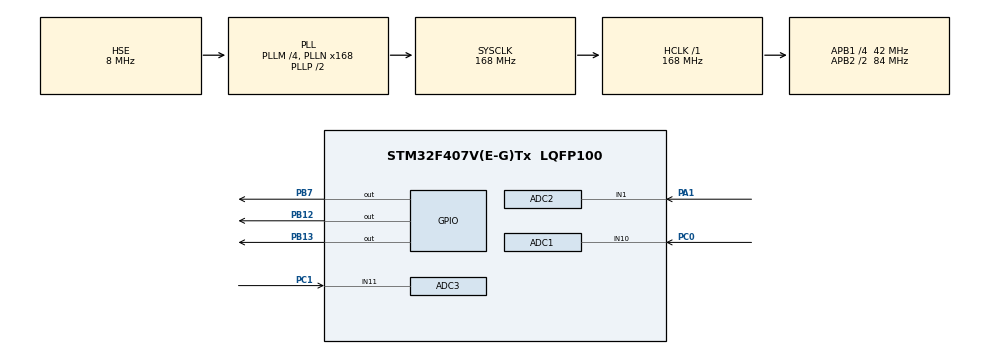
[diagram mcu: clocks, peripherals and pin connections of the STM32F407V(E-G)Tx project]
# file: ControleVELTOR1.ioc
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ADC1.Channel-3\#ChannelRegularConversion=ADC_CHANNEL_10
ADC1.ClockPrescaler=ADC_CLOCK_SYNC_PCLK_DIV8
ADC1.NbrOfConversionFlag=1
ADC1.Rank-3\#ChannelRegularConversion=1
ADC1.SamplingTime-3\#ChannelRegularConversion=ADC_SAMPLETIME_3CYCLES
ADC1.master=1
ADC2.Channel-1\#ChannelRegularConversion=ADC_CHANNEL_1
ADC2.ClockPrescaler=ADC_CLOCK_SYNC_PCLK_DIV8
ADC2.NbrOfConversionFlag=1
ADC2.Rank-1\#ChannelRegularConversion=1
ADC2.SamplingTime-1\#ChannelRegularConversion=ADC_SAMPLETIME_3CYCLES
ADC3.Channel-1\#ChannelRegularConversion=ADC_CHANNEL_11
ADC3.ClockPrescaler=ADC_CLOCK_SYNC_PCLK_DIV8
ADC3.NbrOfConversionFlag=1
ADC3.Rank-1\#ChannelRegularConversion=1
ADC3.SamplingTime-1\#ChannelRegularConversion=ADC_SAMPLETIME_3CYCLES
FREERTOS.Tasks01=defaultTask,24,128,StartDefaultTask,Default,NULL,Dynamic,NULL,NULL
FREERTOS.configUSE_NEWLIB_REENTRANT=1
Mcu.Family=STM32F4
Mcu.Name=STM32F407V(E-G)Tx
Mcu.Package=LQFP100
NVIC.ADC_IRQn=true\:5\:0\:false\:false\:true\:true\:true\:true
NVIC.PriorityGroup=NVIC_PRIORITYGROUP_4
NVIC.TIM6_DAC_IRQn=true\:15\:0\:false\:false\:true\:false\:false\:true
NVIC.TimeBase=TIM6_DAC_IRQn
NVIC.TimeBaseIP=TIM6
PA1.Signal=ADCx_IN1
PB12.Signal=GPIO_Output
PB13.Signal=GPIO_Output
PB7.Signal=GPIO_Output
PC0.Signal=ADCx_IN10
PC1.Signal=ADCx_IN11
PH0-OSC_IN.Mode=HSE-External-Oscillator
PH0-OSC_IN.Signal=RCC_OSC_IN
PH1-OSC_OUT.Mode=HSE-External-Oscillator
PH1-OSC_OUT.Signal=RCC_OSC_OUT
ProjectManager.HeapSize=0x200
ProjectManager.StackSize=0x400
ProjectManager.TargetToolchain=STM32CubeIDE
RCC.48MHZClocksFreq_Value=84000000
RCC.AHBFreq_Value=168000000
RCC.APB1CLKDivider=RCC_HCLK_DIV4
RCC.APB1Freq_Value=42000000
RCC.APB1TimFreq_Value=84000000
RCC.APB2CLKDivider=RCC_HCLK_DIV2
RCC.APB2Freq_Value=84000000
RCC.APB2TimFreq_Value=168000000
RCC.CortexFreq_Value=168000000
RCC.HCLKFreq_Value=168000000
RCC.HSE_VALUE=8000000
RCC.HSI_VALUE=16000000
RCC.LSE_VALUE=32768
RCC.PLLM=4
RCC.PLLN=168
RCC.PLLSourceVirtual=RCC_PLLSOURCE_HSE
RCC.SYSCLKFreq_VALUE=168000000
RCC.SYSCLKSource=RCC_SYSCLKSOURCE_PLLCLK
RCC.VCOOutputFreq_Value=336000000
SH.ADCx_IN1.0=ADC2_IN1,IN1
SH.ADCx_IN10.0=ADC1_IN10,IN10
SH.ADCx_IN11.0=ADC3_IN11,IN11
VP_FREERTOS_VS_CMSIS_V2.Mode=CMSIS_V2
VP_SYS_VS_tim6.Mode=TIM6
board=custom

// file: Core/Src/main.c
/* USER CODE BEGIN Header */
/**
  ******************************************************************************
  * @file           : main.c
  * @brief          : Main program body
  ******************************************************************************
  * @attention
  *
  * <h2><center>&copy; Copyright (c) 2021 STMicroelectronics.
  * All rights reserved.</center></h2>
  *
  * This software component is licensed by ST under BSD 3-Clause license,
  * the "License"; You may not use this file except in compliance with the
  * License. You may obtain a copy of the License at:
  *                        opensource.org/licenses/BSD-3-Clause
  *
  ******************************************************************************
  */
/* USER CODE END Header */
#include "main.h"
#include "cmsis_os.h"

/* USER CODE BEGIN Includes */
#include <stdint.h>
#include "pwm.h"
#include "qdc.h"
#include "task.h"
#include "queue.h"
#include "setup.h"
/* USER CODE END Includes */

/* USER CODE BEGIN PM */
//motor 1
#define Kp_w1 1
#define Ki_w1 1
#define Kd_w1 1
#define Kp_i1 1
#define Ki_i1 1
#define Kd_i1 1
//motor 2
#define Kp_w2 1
#define Ki_w2 1
#define Kd_w2 1
#define Kp_i2 1
#define Ki_i2 1
#define Kd_i2 1
//motor 3
#define Kp_w3 1
#define Ki_w3 1
#define Kd_w3 1
#define Kp_i3 1
#define Ki_i3 1
#define Kd_i3 1
//outros
#define pi 3.14159
#define kt 18.803
#define PPR 1440
#define dt 0.01
#define dt2 0.0005
/* USER CODE END PM */

ADC_HandleTypeDef hadc1;
ADC_HandleTypeDef hadc2;
ADC_HandleTypeDef hadc3;

/* Definitions for defaultTask */
osThreadId_t defaultTaskHandle;
const osThreadAttr_t defaultTask_attributes = {
  .name = "defaultTask",
  .stack_size = 128 * 4,
  .priority = (osPriority_t) osPriorityNormal,
};

void SystemClock_Config(void);
static void MX_GPIO_Init(void);
static void MX_ADC2_Init(void);
static void MX_ADC3_Init(void);
static void MX_ADC1_Init(void);
void StartDefaultTask(void *argument);

/* USER CODE BEGIN PFP */
void task_EncoderCrtlSpeed( void *pvParameters );
void task_ADCdataIn( void *pvParameters );
float *ctrl_PID (float kp, float ki, float kd, float T, float input, float setpoint, float *data);
QueueHandle_t xQueue_tqSpeed1;
QueueHandle_t xQueue_tqSpeed2;
QueueHandle_t xQueue_tqSpeed3;
QueueHandle_t xQueue_ADC1;
QueueHandle_t xQueue_ADC2;
QueueHandle_t xQueue_ADC3;
QueueHandle_t xQueue_setpointVel1; // filas para receber as velocidades definidas pelo usuário
QueueHandle_t xQueue_setpointVel2;
QueueHandle_t xQueue_setpointVel3;
static float dataInput_w1[3], dataInput_w2[3], dataInput_w3[3];
static float dataInput_i1[3], dataInput_i2[3], dataInput_i3[3];
static float *aux;
/* USER CODE END PFP */

int main(void)
{
  /* USER CODE BEGIN 1 */
  HAL_StatusTypeDef ADC_status1, ADC_status2, ADC_status3;
  PWM_Parameters_t Parameters1, Parameters2, Parameters3;
  QDC_Parameters_t QDC_Parameters1, QDC_Parameters2, QDC_Parameters3;
  /* USER CODE END 1 */

  /* MCU Configuration--------------------------------------------------------*/

  /* Reset of all peripherals, Initializes the Flash interface and the Systick. */
  HAL_Init();

  /* Configure the system clock */
  SystemClock_Config();

  /* Initialize all configured peripherals */
  MX_GPIO_Init();
  MX_ADC2_Init();
  MX_ADC3_Init();
  MX_ADC1_Init();
  /* USER CODE BEGIN 2 */
  //start_rtos();

  xQueue_tqSpeed1 = xQueueCreate( 1, sizeof( float ) );
  xQueue_tqSpeed2 = xQueueCreate( 1, sizeof( float ) );
  xQueue_tqSpeed3 = xQueueCreate( 1, sizeof( float ) );
  xQueue_ADC1 = xQueueCreate( 1, sizeof( uint32_t ) );
  xQueue_ADC2 = xQueueCreate( 1, sizeof( uint32_t ) );
  xQueue_ADC3 = xQueueCreate( 1, sizeof( uint32_t ) );
  xQueue_setpointVel1 = xQueueCreate( 1, sizeof( float ) );
  xQueue_setpointVel2 = xQueueCreate( 1, sizeof( float ) );
  xQueue_setpointVel3 = xQueueCreate( 1, sizeof( float ) );

  xTaskCreate(
         task_EncoderCrtlSpeed                     /* Funcao a qual esta implementado o que a tarefa deve fazer */
       , "EncoderCrtlSpeed"   /* Nome (para fins de debug, se necessário) */
       , 256                          /* Tamanho da stack (em words) reservada para essa tarefa */
       , NULL                         /* Parametros passados (nesse caso, não há) */
       , 1                            /* Prioridade */
       , NULL);                      /* Handle da tarefa, opcional (nesse caso, não há) */

  xTaskCreate(task_ADCdataIn, "LeituraADC", 256, NULL, 1, NULL);

  ADC_status1 = HAL_ADC_Start_IT(&hadc1); //Inicia o ADC1 com interrupção
  if (ADC_status1 != HAL_OK) //Verifica se ta tudo bem
  {
	  Error_Handler();
  }

  ADC_status2 = HAL_ADC_Start_IT(&hadc2); //Inicia o ADC2 com interrupção
  if (ADC_status2 != HAL_OK) //Verifica se ta tudo bem
  {
  	  Error_Handler();
  }

  ADC_status3 = HAL_ADC_Start_IT(&hadc3); //Inicia o ADC3 com interrupção
  if (ADC_status3 != HAL_OK) //Verifica se ta tudo bem
  {
      Error_Handler();
  }

  // motor 1
  Parameters1.Channel = PWM12_CH1_PB14;
  Parameters1.Duty = 50;
  Parameters1.Frequency = 15000.0;
  Parameters1.Mode = PWM_EDGE_ALIGNED;
  Parameters1.Preference = PWM_RESOLUTION;
  Parameters1.Reslution = PWM_8BITS;
  PWM_Init(0, Parameters1); //passa a estrutura com as configurações

  QDC_Parameters1.Port = QDC4_CH1_PD12_CH2_PD13;
  QDC_Parameters1.PullConfig = QDC_PULL_UP;
  QDC_Parameters1.Resolution = QDC_X1;
  QDC_Init(0, QDC_Parameters1); //Inicia Encoder

  //motor 2
  Parameters2.Channel = PWM12_CH2_PB15;
  Parameters2.Duty = 50;
  Parameters2.Frequency = 15000.0;
  Parameters2.Mode = PWM_EDGE_ALIGNED;
  Parameters2.Preference = PWM_RESOLUTION;
  Parameters2.Reslution = PWM_8BITS;
  PWM_Init(1, Parameters2); //passa a estrutura com as configurações

  QDC_Parameters2.Port = QDC3_CH1_PB4_CH2_PB5;
  QDC_Parameters2.PullConfig = QDC_PULL_UP;
  QDC_Parameters2.Resolution = QDC_X1;
  QDC_Init(1, QDC_Parameters2); //Inicia Encoder

  //motor 3
  Parameters3.Channel = PWM10_CH1_PB8;
  Parameters3.Duty = 50; // 50% pra iniciar
  Parameters3.Frequency = 15000.0;
  Parameters3.Mode = PWM_EDGE_ALIGNED;
  Parameters3.Preference = PWM_RESOLUTION;
  Parameters3.Reslution = PWM_8BITS;
  PWM_Init(2, Parameters3); //passa a estrutura com as configurações

  QDC_Parameters3.Port = QDC8_CH1_PC6_CH2_PC7;
  QDC_Parameters3.PullConfig = QDC_PULL_UP;
  QDC_Parameters3.Resolution = QDC_X1;
  QDC_Init(2, QDC_Parameters3); //Inicia Encoder

  for (int i = 0; i<=3; i++){
	  dataInput_w1[i] = 0;
	  dataInput_w2[i] = 0;
	  dataInput_w3[i] = 0;
	  dataInput_i1[i] = 0;
	  dataInput_i2[i] = 0;
	  dataInput_i3[i] = 0;
  }

  vTaskStartScheduler();
  /* USER CODE END 2 */

  /* Init scheduler */
  osKernelInitialize();

  /* Create the thread(s) */
  /* creation of defaultTask */
  defaultTaskHandle = osThreadNew(StartDefaultTask, NULL, &defaultTask_attributes);

  /* Start scheduler */
  osKernelStart();

  /* We should never get here as control is now taken by the scheduler */
  /* Infinite loop */
  while (1)
  {

  }
}

void SystemClock_Config(void)
{
  RCC_OscInitTypeDef RCC_OscInitStruct = {0};
  RCC_ClkInitTypeDef RCC_ClkInitStruct = {0};

  /** Configure the main internal regulator output voltage
  */
  __HAL_RCC_PWR_CLK_ENABLE();
  __HAL_PWR_VOLTAGESCALING_CONFIG(PWR_REGULATOR_VOLTAGE_SCALE1);
  /** Initializes the RCC Oscillators according to the specified parameters
  * in the RCC_OscInitTypeDef structure.
  */
  RCC_OscInitStruct.OscillatorType = RCC_OSCILLATORTYPE_HSE;
  RCC_OscInitStruct.HSEState = RCC_HSE_ON;
  RCC_OscInitStruct.PLL.PLLState = RCC_PLL_ON;
  RCC_OscInitStruct.PLL.PLLSource = RCC_PLLSOURCE_HSE;
  RCC_OscInitStruct.PLL.PLLM = 4;
  RCC_OscInitStruct.PLL.PLLN = 168;
  RCC_OscInitStruct.PLL.PLLP = RCC_PLLP_DIV2;
  RCC_OscInitStruct.PLL.PLLQ = 4;
  if (HAL_RCC_OscConfig(&RCC_OscInitStruct) != HAL_OK)
  {
    Error_Handler();
  }
  /** Initializes the CPU, AHB and APB buses clocks
  */
  RCC_ClkInitStruct.ClockType = RCC_CLOCKTYPE_HCLK|RCC_CLOCKTYPE_SYSCLK
                              |RCC_CLOCKTYPE_PCLK1|RCC_CLOCKTYPE_PCLK2;
  RCC_ClkInitStruct.SYSCLKSource = RCC_SYSCLKSOURCE_PLLCLK;
  RCC_ClkInitStruct.AHBCLKDivider = RCC_SYSCLK_DIV1;
  RCC_ClkInitStruct.APB1CLKDivider = RCC_HCLK_DIV4;
  RCC_ClkInitStruct.APB2CLKDivider = RCC_HCLK_DIV2;

  if (HAL_RCC_ClockConfig(&RCC_ClkInitStruct, FLASH_LATENCY_5) != HAL_OK)
  {
    Error_Handler();
  }
}

static void MX_ADC1_Init(void)
{

  ADC_ChannelConfTypeDef sConfig = {0};

  /** Configure the global features of the ADC (Clock, Resolution, Data Alignment and number of conversion)
  */
  hadc1.Instance = ADC1;
  hadc1.Init.ClockPrescaler = ADC_CLOCK_SYNC_PCLK_DIV8;
  hadc1.Init.Resolution = ADC_RESOLUTION_12B;
  hadc1.Init.ScanConvMode = DISABLE;
  hadc1.Init.ContinuousConvMode = DISABLE;
  hadc1.Init.DiscontinuousConvMode = DISABLE;
  hadc1.Init.ExternalTrigConvEdge = ADC_EXTERNALTRIGCONVEDGE_NONE;
  hadc1.Init.ExternalTrigConv = ADC_SOFTWARE_START;
  hadc1.Init.DataAlign = ADC_DATAALIGN_RIGHT;
  hadc1.Init.NbrOfConversion = 1;
  hadc1.Init.DMAContinuousRequests = DISABLE;
  hadc1.Init.EOCSelection = ADC_EOC_SINGLE_CONV;
  if (HAL_ADC_Init(&hadc1) != HAL_OK)
  {
    Error_Handler();
  }
  /** Configure for the selected ADC regular channel its corresponding rank in the sequencer and its sample time.
  */
  sConfig.Channel = ADC_CHANNEL_10;
  sConfig.Rank = 1;
  sConfig.SamplingTime = ADC_SAMPLETIME_3CYCLES;
  if (HAL_ADC_ConfigChannel(&hadc1, &sConfig) != HAL_OK)
  {
    Error_Handler();
  }
  /* USER CODE BEGIN ADC1_Init 2 */
  NVIC_SetPriority(ADC_IRQn,
      		  NVIC_EncodePriority(NVIC_GetPriorityGrouping(), 0, 0));
  NVIC_EnableIRQ(ADC_IRQn);
  /* USER CODE END ADC1_Init 2 */

}

static void MX_ADC2_Init(void)
{

  ADC_ChannelConfTypeDef sConfig = {0};

  /** Configure the global features of the ADC (Clock, Resolution, Data Alignment and number of conversion)
  */
  hadc2.Instance = ADC2;
  hadc2.Init.ClockPrescaler = ADC_CLOCK_SYNC_PCLK_DIV8;
  hadc2.Init.Resolution = ADC_RESOLUTION_12B;
  hadc2.Init.ScanConvMode = DISABLE;
  hadc2.Init.ContinuousConvMode = DISABLE;
  hadc2.Init.DiscontinuousConvMode = DISABLE;
  hadc2.Init.ExternalTrigConvEdge = ADC_EXTERNALTRIGCONVEDGE_NONE;
  hadc2.Init.ExternalTrigConv = ADC_SOFTWARE_START;
  hadc2.Init.DataAlign = ADC_DATAALIGN_RIGHT;
  hadc2.Init.NbrOfConversion = 1;
  hadc2.Init.DMAContinuousRequests = DISABLE;
  hadc2.Init.EOCSelection = ADC_EOC_SINGLE_CONV;
  if (HAL_ADC_Init(&hadc2) != HAL_OK)
  {
    Error_Handler();
  }
  /** Configure for the selected ADC regular channel its corresponding rank in the sequencer and its sample time.
  */
  sConfig.Channel = ADC_CHANNEL_1;
  sConfig.Rank = 1;
  sConfig.SamplingTime = ADC_SAMPLETIME_3CYCLES;
  if (HAL_ADC_ConfigChannel(&hadc2, &sConfig) != HAL_OK)
  {
    Error_Handler();
  }
  /* USER CODE BEGIN ADC2_Init 2 */
  NVIC_SetPriority(ADC_IRQn,
    		  NVIC_EncodePriority(NVIC_GetPriorityGrouping(), 0, 0));
  NVIC_EnableIRQ(ADC_IRQn);
  /* USER CODE END ADC2_Init 2 */

}

static void MX_ADC3_Init(void)
{

  ADC_ChannelConfTypeDef sConfig = {0};

  /** Configure the global features of the ADC (Clock, Resolution, Data Alignment and number of conversion)
  */
  hadc3.Instance = ADC3;
  hadc3.Init.ClockPrescaler = ADC_CLOCK_SYNC_PCLK_DIV8;
  hadc3.Init.Resolution = ADC_RESOLUTION_12B;
  hadc3.Init.ScanConvMode = DISABLE;
  hadc3.Init.ContinuousConvMode = DISABLE;
  hadc3.Init.DiscontinuousConvMode = DISABLE;
  hadc3.Init.ExternalTrigConvEdge = ADC_EXTERNALTRIGCONVEDGE_NONE;
  hadc3.Init.ExternalTrigConv = ADC_SOFTWARE_START;
  hadc3.Init.DataAlign = ADC_DATAALIGN_RIGHT;
  hadc3.Init.NbrOfConversion = 1;
  hadc3.Init.DMAContinuousRequests = DISABLE;
  hadc3.Init.EOCSelection = ADC_EOC_SINGLE_CONV;
  if (HAL_ADC_Init(&hadc3) != HAL_OK)
  {
    Error_Handler();
  }
  /** Configure for the selected ADC regular channel its corresponding rank in the sequencer and its sample time.
  */
  sConfig.Channel = ADC_CHANNEL_11;
  sConfig.Rank = 1;
  sConfig.SamplingTime = ADC_SAMPLETIME_3CYCLES;
  if (HAL_ADC_ConfigChannel(&hadc3, &sConfig) != HAL_OK)
  {
    Error_Handler();
  }
  /* USER CODE BEGIN ADC3_Init 2 */
  NVIC_SetPriority(ADC_IRQn,
    		  NVIC_EncodePriority(NVIC_GetPriorityGrouping(), 0, 0));
  NVIC_EnableIRQ(ADC_IRQn);
  /* USER CODE END ADC3_Init 2 */

}

static void MX_GPIO_Init(void)
{
  GPIO_InitTypeDef GPIO_InitStruct = {0};

  /* GPIO Ports Clock Enable */
  __HAL_RCC_GPIOH_CLK_ENABLE();
  __HAL_RCC_GPIOC_CLK_ENABLE();
  __HAL_RCC_GPIOA_CLK_ENABLE();
  __HAL_RCC_GPIOB_CLK_ENABLE();

  /*Configure GPIO pin Output Level */
  HAL_GPIO_WritePin(GPIOB, GPIO_PIN_12|GPIO_PIN_13|GPIO_PIN_7, GPIO_PIN_RESET);

  /*Configure GPIO pins : PB12 PB13 PB7 */
  GPIO_InitStruct.Pin = DRV_GPIO_PIN_DIR1|DRV_GPIO_PIN_DIR2|DRV_GPIO_PIN_DIR3;
  GPIO_InitStruct.Mode = GPIO_MODE_OUTPUT_PP;
  GPIO_InitStruct.Pull = GPIO_NOPULL;
  GPIO_InitStruct.Speed = GPIO_SPEED_FREQ_LOW;
  HAL_GPIO_Init(GPIOB, &GPIO_InitStruct);
}

/* USER CODE BEGIN 4 */
//motor 1
void HAL_ADC_ConvCpltCallback( ADC_HandleTypeDef* hadc ) //entra nessa interrupção a cada T = 1,43us
{
	portBASE_TYPE xHigherPriorityTaskWoken1 = pdFALSE, xHigherPriorityTaskWoken2 = pdFALSE, xHigherPriorityTaskWoken3 = pdFALSE;
	// motor 1
	if(hadc->Instance == ADC1)
	{
		uint32_t leitura1 = HAL_ADC_GetValue(hadc);
		xQueueSendFromISR(xQueue_ADC1, (void *)&leitura1, &xHigherPriorityTaskWoken1);
		if(xHigherPriorityTaskWoken1)
		{
			portYIELD_FROM_ISR(xHigherPriorityTaskWoken1);
		}
	}

	// motor 2
	if(hadc->Instance == ADC2)
	{
		uint32_t leitura2 = HAL_ADC_GetValue(hadc);
		xQueueSendFromISR(xQueue_ADC2, (void *)&leitura2, &xHigherPriorityTaskWoken2);
		if(xHigherPriorityTaskWoken2)
		{
			portYIELD_FROM_ISR(xHigherPriorityTaskWoken2);
		}
	}

	// motor 3
	if(hadc->Instance == ADC3)
	{
		uint32_t leitura3 = HAL_ADC_GetValue(hadc);
		xQueueSendFromISR(xQueue_ADC3, (void *)&leitura3, &xHigherPriorityTaskWoken3);
		if(xHigherPriorityTaskWoken3)
	    {
			portYIELD_FROM_ISR(xHigherPriorityTaskWoken3);
	    }
	}
}

void task_ADCdataIn( void *pvParameters )
{
	static uint32_t leitura_ADC1, leitura_ADC2, leitura_ADC3;
	static float tq1 = 0, tq2 = 0, tq3 = 0;
  static float tqSpeed1 = 0, tqSpeed2 = 0, tqSpeed3 = 0;
	static float dutc1 = 0, dutc2 = 0, dutc3 = 0;

	while(1)
	{
    for (motorIndex = 0; motorIndex < 3; motorIndex++)
    {
      switch (motorIndex)
      {
        case 0:
          xQueueReceive(xQueue_ADC1, (void *)&leitura_ADC1,  pdMS_TO_TICKS(0));
          tq1 = kt*leitura_ADC1; // Obtém o torque de input

          xQueueReceive(xQueue_tqSpeed1, (void *)&tqSpeed1,  pdMS_TO_TICKS(0));
          aux = ctrl_PID (Kp_i1, Ki_i1, Kd_i1, dt2, tq1, tqSpeed1, dataInput_i1);

          for (int i = 0; i<=3; i++){
            dataInput_i1[i] = aux[i];
          }
          dutc1 = (100/12)*dataInput_i1[0];
          PWM_SetDuty(0, dutc1); // define a saída pwm
          break;

        case 1:
            xQueueReceive(xQueue_ADC2, (void *)&leitura_ADC2,  pdMS_TO_TICKS(0));
            tq2 = kt*leitura_ADC2;

            xQueueReceive(xQueue_tqSpeed2, (void *)&tqSpeed2, pdMS_TO_TICKS(0));
            aux = ctrl_PID (Kp_i2, Ki_i2, Kd_i2, dt2, tq2, tqSpeed2, dataInput_i2);

            for (int i = 0; i<=3; i++){
              dataInput_i2[i] = aux[i];
            }

            dutc2 = (100/12)*dataInput_i2[0];
            PWM_SetDuty(1, dutc2);
            break;

        case 2:
          xQueueReceive(xQueue_ADC3, (void *)&leitura_ADC3, pdMS_TO_TICKS(0));
          tq3 = kt*leitura_ADC3;

          xQueueReceive(xQueue_tqSpeed3, (void *)&tqSpeed3, pdMS_TO_TICKS(0));
          aux = ctrl_PID (Kp_i3, Ki_i3, Kd_i3, dt2, tq3, tqSpeed3, dataInput_i3);

          for (int i = 0; i<=3; i++){
            dataInput_i3[i] = aux[i];
          }

          dutc3 = (100/12)*dataInput_i3[0];
          PWM_SetDuty(2, dutc3);
          break;
      }
    }

		vTaskDelay(pdMS_TO_TICKS(1));
	}
}

void task_EncoderCrtlSpeed(void *pvParameters)
{
    int32_t QDC_pulses[3];
    float velAng[3] = {0};
    float setVel[3] = {0};

    while (1)
    {
        int motorIndex;
        for (motorIndex = 0; motorIndex < 3; motorIndex++)
        {
            // Receber o setpoint de velocidade
            switch (motorIndex)
            {
            case 0:
                xQueueReceive(xQueue_setpointVel1, (void *)&setVel[motorIndex], pdMS_TO_TICKS(1));
                break;
            case 1:
                xQueueReceive(xQueue_setpointVel2, (void *)&setVel[motorIndex], pdMS_TO_TICKS(1));
                break;
            case 2:
                xQueueReceive(xQueue_setpointVel3, (void *)&setVel[motorIndex], pdMS_TO_TICKS(1));
                break;
            }

            // Ler os pulsos do QDC
            QDC_Read(motorIndex, &QDC_pulses[motorIndex]);

            // Calcular a velocidade angular
            velAng[motorIndex] = ((QDC_pulses[motorIndex] * (2 * pi)) / PPR) / dt;

            // Controlar com PID
            float *dataInput = ctrl_PID(Kp_w[motorIndex], Ki_w[motorIndex], Kd_w[motorIndex], dt, velAng[motorIndex], setVel[motorIndex]);

            // Iniciar a conversão AD
            HAL_ADC_Start_IT(&hadc[motorIndex + 1]);

            // Copiar os dados para o motor i
            int i;
            for (i = 0; i <= 3; i++)
            {
                switch (motorIndex)
                {
                case 0:
                    dataInput_w1[i] = dataInput[i];
                    break;
                case 1:
                    dataInput_w2[i] = dataInput[i];
                    break;
                case 2:
                    dataInput_w3[i] = dataInput[i];
                    break;
                }
            }

            // Transmitir o sinal de controle para a fila apropriada
            switch (motorIndex)
            {
            case 0:
                xQueueOverwrite(xQueue_tqSpeed1, (void *)&dataInput_w1[0]);
                break;
            case 1:
                xQueueOverwrite(xQueue_tqSpeed2, (void *)&dataInput_w2[0]);
                break;
            case 2:
                xQueueOverwrite(xQueue_tqSpeed3, (void *)&dataInput_w3[0]);
                break;
            }
        }

        vTaskDelay(pdMS_TO_TICKS(10));
    }
}

float *ctrl_PID (float kp, float ki, float kd, float T, float input, float setpoint, float *data)
{
	static float erro = setpoint - input;

 // Calcula o valor de controle PID
	data[0] = data[1] + kp*(erro - data[2]) + ki*dt*erro + (kd/T)*(erro - 2*data[2] - data[3]);

	data[1] = data[0];    // Armazena o valor de controle atual para uso futuro
	data[3] = data[2];    // Atualiza o valor anterior do erro
	data[2] = erro;       // Atualiza o valor atual do erro

	return data;
}

/* USER CODE END 4 */

void StartDefaultTask(void *argument)
{
  for(;;)
  {
    osDelay(1);
  }
}

void HAL_TIM_PeriodElapsedCallback(TIM_HandleTypeDef *htim)
{
  if (htim->Instance == TIM6) {
    HAL_IncTick();
  }
}

void Error_Handler(void)
{
  __disable_irq();
  while (1)
  {
  }
}

/************************ (C) COPYRIGHT STMicroelectronics *****END OF FILE****/
